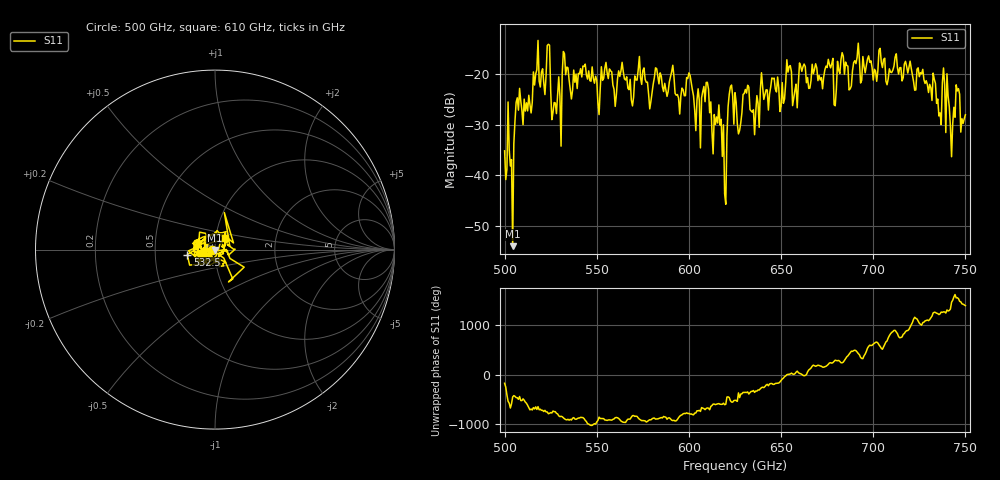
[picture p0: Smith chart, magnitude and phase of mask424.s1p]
!Created with skrf (http://scikit-rf.org).
# GHz S MA R 50.0
!freq magS11 angS11
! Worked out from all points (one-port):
!   401 points, 500 GHz to 750 GHz, reference 50 ohm
!   lowest |S11| = -53.9 dB at 504.4 GHz (marker M1), VSWR 1.00, Z = 50 - j0.201 ohm
!   |S11| at or under -10 dB: start of sweep to end of sweep
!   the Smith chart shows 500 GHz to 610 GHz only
!   S11 on the Smith chart (normalised r, x): 500 GHz: 0.97, -0.00; 532.5 GHz: 0.73, -0.04; 610 GHz: 1.10, +0.14
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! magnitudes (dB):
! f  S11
! 500 GHz  -35.2
! 504.4 GHz  -53.9
! 506.9 GHz  -24.7
! 513.8 GHz  -26.1
! 516.9 GHz  -20.0
! 523.8 GHz  -14.2
! 526.9 GHz  -25.7
! 531.2 GHz  -20.0
! 532.5 GHz  -16.1
! 550.6 GHz  -25.8
! 562.5 GHz  -20.5
! 579.4 GHz  -25.4
! 590.6 GHz  -19.6
! 593.8 GHz  -24.1
! 610 GHz  -21.7
! 617.5 GHz  -29.0
! 619.4 GHz  -43.6
! 622.5 GHz  -22.6
! 625 GHz  -23.7
! 650.6 GHz  -21.7
! 654.4 GHz  -18.6
! 656.2 GHz  -26.3
! 687.5 GHz  -23.0
! 691.2 GHz  -16.8
! 718.8 GHz  -19.9
! 743.1 GHz  -29.8
! 745.6 GHz  -23.4
! 750 GHz  -28.1
